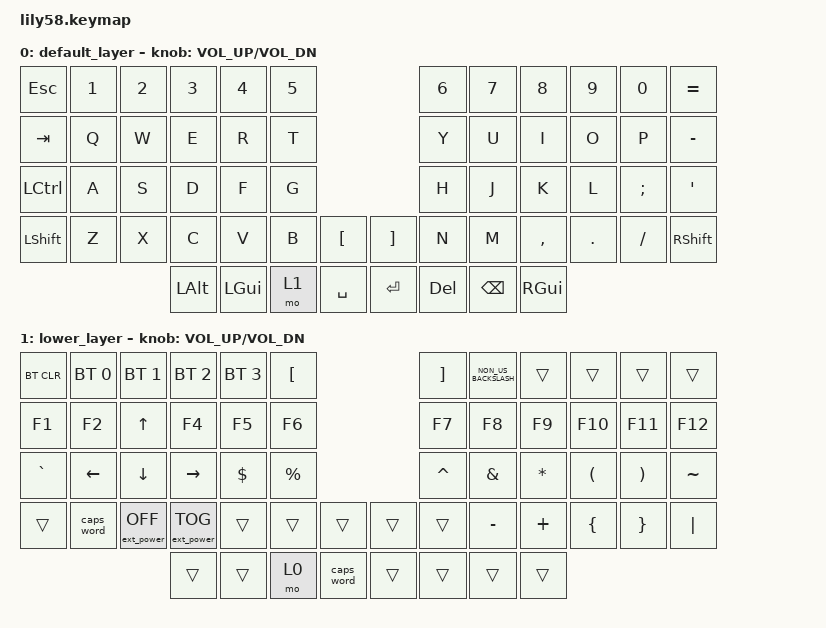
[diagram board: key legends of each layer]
/*
 * Copyright (c) 2020 The ZMK Contributors
 *
 * SPDX-License-Identifier: MIT
 */

#include <behaviors.dtsi>
#include <dt-bindings/zmk/bt.h>
#include <dt-bindings/zmk/ext_power.h>
#include <dt-bindings/zmk/keys.h>

/ {
    keymap {
        compatible = "zmk,keymap";

        default_layer {
            // ------------------------------------------------------------------------------------------------------------
            // |  ESC  |  1  |  2  |  3   |  4   |  5   |                   |  6   |  7    |  8    |  9   |   0   |   `   |
            // |  TAB  |  Q  |  W  |  E   |  R   |  T   |                   |  Y   |  U    |  I    |  O   |   P   |   -   |
            // |  CTRL |  A  |  S  |  D   |  F   |  G   |                   |  H   |  J    |  K    |  L   |   ;   |   '   |
            // | SHIFT |  Z  |  X  |  C   |  V   |  B   |   "["  |  |  "]"  |  N   |  M    |  ,    |  .   |   /   | SHIFT |
            //                     | ALT  | GUI  | LOWER|  SPACE |  | ENTER | RAISE| BSPC  | GUI   |

            bindings = <
&kp ESC    &kp N1  &kp N2  &kp N3    &kp N4    &kp N5                         &kp N6      &kp N7    &kp N8     &kp N9   &kp N0    &kp EQUAL
&kp TAB    &kp Q   &kp W   &kp E     &kp R     &kp T                          &kp Y       &kp U     &kp I      &kp O    &kp P     &kp MINUS
&kp LCTRL  &kp A   &kp S   &kp D     &kp F     &kp G                          &kp H       &kp J     &kp K      &kp L    &kp SEMI  &kp SQT
&kp LSHFT  &kp Z   &kp X   &kp C     &kp V     &kp B   &kp LBKT     &kp RBKT  &kp N       &kp M     &kp COMMA  &kp DOT  &kp FSLH  &kp RSHFT
                           &kp LALT  &kp LGUI  &mo 1   &kp SPACE    &kp RET   &kp DELETE  &kp BSPC  &kp RGUI
            >;

            sensor-bindings = <&inc_dec_kp C_VOL_UP C_VOL_DN>;
        };

        lower_layer {
            // ------------------------------------------------------------------------------------------------------------
            // | BTCLR | BT1 | BT2 |  BT3 |  BT4 |  BT5 |                   |      |       |       |      |       |       |
            // |  F1   |  F2 |  F3 |  F4  |  F5  |  F6  |                   |  F7  |  F8   |  F9   |  F10 |  F11  |  F12  |
            // |   `   |  !  |  @  |  #   |  $   |  %   |                   |  ^   |  &    |  *    |  (   |   )   |   ~   |
            // |       |     |     |      |      |      |        |  |       |      |  _    |  +    |  {   |   }   |  "|"  |
            //                     |      |      |      |        |  |       |      |       |       |

            bindings = <
&bt BT_CLR  &bt BT_SEL 0    &bt BT_SEL 1       &bt BT_SEL 2       &bt BT_SEL 3  &kp LEFT_BRACKET                        &kp RIGHT_BRACKET  &kp NON_US_BACKSLASH  &trans     &trans    &trans    &trans
&kp F1      &kp F2          &kp UP_ARROW       &kp F4             &kp F5        &kp F6                                  &kp F7             &kp F8                &kp F9     &kp F10   &kp F11   &kp F12
&kp GRAVE   &kp LEFT_ARROW  &kp DOWN_ARROW     &kp RIGHT_ARROW    &kp DOLLAR    &kp PRCNT                               &kp CARET          &kp AMPS              &kp ASTRK  &kp LPAR  &kp RPAR  &kp TILDE
&trans      &caps_word      &ext_power EP_OFF  &ext_power EP_TOG  &trans        &trans            &trans        &trans  &trans             &kp MINUS             &kp PLUS   &kp LBRC  &kp RBRC  &kp PIPE
                                               &trans             &trans        &mo 0             &caps_word    &trans  &trans             &trans                &trans
            >;

            sensor-bindings = <&inc_dec_kp C_VOL_UP C_VOL_DN>;
        };
    };
};
